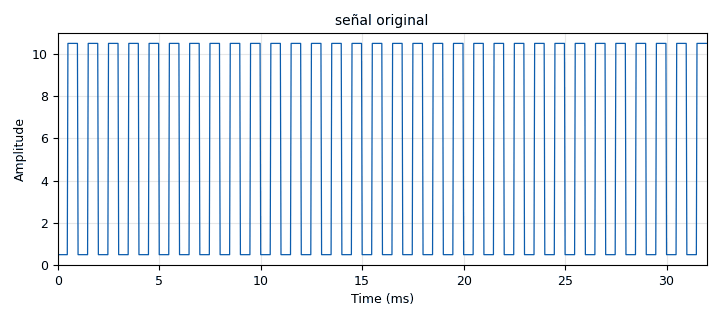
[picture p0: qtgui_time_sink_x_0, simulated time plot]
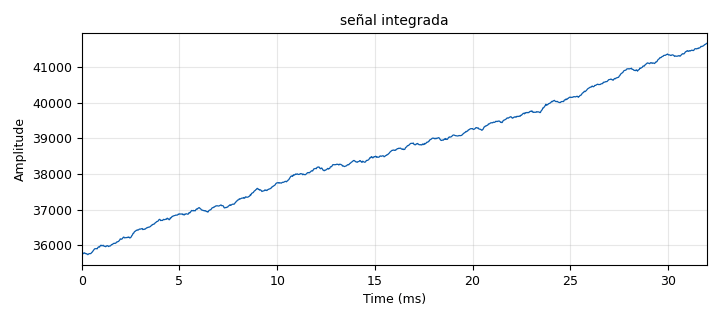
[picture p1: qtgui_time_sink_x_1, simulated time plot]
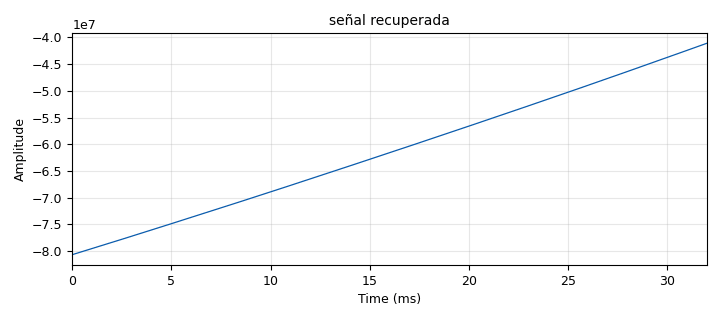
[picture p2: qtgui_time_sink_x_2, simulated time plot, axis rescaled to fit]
options:
  parameters:
    generate_options: qt_gui
    id: practica1b1
    output_language: python
    title: Not titled yet
  states: {}

blocks:
- name: samp_rate
  id: variable
  parameters:
    value: '32000'
  states: {}
- name: analog_noise_source_x_0
  id: analog_noise_source_x
  parameters:
    amp: '12'
    noise_type: analog.GR_GAUSSIAN
    seed: '0'
    type: float
  states: {}
- name: analog_noise_source_x_1
  id: analog_noise_source_x
  parameters:
    amp: '20'
    noise_type: analog.GR_GAUSSIAN
    seed: '0'
    type: float
  states: {}
- name: analog_sig_source_x_0
  id: analog_sig_source_x
  parameters:
    amp: '10'
    freq: '1000'
    offset: '0.5'
    phase: '0'
    samp_rate: samp_rate
    type: float
    waveform: analog.GR_SQR_WAVE
  states: {}
- name: blocks_add_xx_0
  id: blocks_add_xx
  parameters:
    type: float
  states: {}
- name: blocks_add_xx_1
  id: blocks_add_xx
  parameters:
    type: float
  states: {}
- name: blocks_vector_source_x_0
  id: blocks_vector_source_x
  parameters:
    repeat: 'True'
    type: float
    vector: (5, 2, 2)
  states: {state: disabled}
- name: blocks_vector_source_x_1
  id: blocks_vector_source_x
  parameters:
    repeat: 'True'
    type: float
    vector: (5, 2, 2)
  states: {}
- name: epy_block_0
  id: epy_block
  parameters:
    _source_code: |
      import numpy as np
      from gnuradio import gr

      class blk (gr. sync_block ):

      	def __init__ ( self ) : # only default arguments here

      	    gr. sync_block . __init__ (
      		 self ,
      	         name ='e_Acum ', # will show up in GRC
      		 in_sig =[ np. float32 ],
      		 out_sig =[ np. float32 ]
                  )
      	def work (self , input_items , output_items ):
      	    x = input_items [0] # Senial de entrada .
      	    y0 = output_items [0] # Senial acumulada
      	    y0 [:] = np. cumsum (x)
      	    return len (y0)
  states: {}
- name: epy_block_0_0
  id: epy_block
  parameters:
    _source_code: |
      import numpy as np
      from gnuradio import gr

      class blk (gr. sync_block ):

      	def __init__ ( self ) : # only default arguments here

      	    gr. sync_block . __init__ (
      		 self ,
      	         name ='e_Acum ', # will show up in GRC
      		 in_sig =[ np. float32 ],
      		 out_sig =[ np. float32 ]
                  )
      	def work (self , input_items , output_items ):
      	    x = input_items [0] # Senial de entrada .
      	    y0 = output_items [0] # Senial acumulada
      	    y0 [:] = np. cumsum (x)
      	    return len (y0)
  states: {}
- name: epy_block_1
  id: epy_block
  parameters:
    _source_code: |
      import numpy as np
      from gnuradio import gr

      class blk (gr. sync_block ):
          def __init__ ( self ) : # only default arguments here
              gr. sync_block . __init__ (
                   self ,
                   name ='e_Diff ', # will show up in GRC
                   in_sig =[ np. float32 ],
                   out_sig =[ np. float32 ]     
              
              )
              self . acum_anterior = 0
          def work (self , input_items , output_items ):
              x = input_items [0] # Senial de entrada .
              y0 = output_items [0] # Senial acumulada diferencial
              N = len (x)
              diff = np. cumsum (x) - self . acum_anterior
              self . acum_anterior = diff [N -1]
              y0 [:] = diff
              return len (y0)
  states: {state: disabled}
- name: epy_block_1_0
  id: epy_block
  parameters:
    _source_code: |
      import numpy as np
      from gnuradio import gr

      class blk (gr. sync_block ):
          def __init__ ( self ) : # only default arguments here
              gr. sync_block . __init__ (
                   self ,
                   name ='e_Diff ', # will show up in GRC
                   in_sig =[ np. float32 ],
                   out_sig =[ np. float32 ]     
              
              )
              self . acum_anterior = 0
          def work (self , input_items , output_items ):
              x = input_items [0] # Senial de entrada .
              y0 = output_items [0] # Senial acumulada diferencial
              N = len (x)
              diff = np. cumsum (x) - self . acum_anterior
              self . acum_anterior = diff [N -1]
              y0 [:] = diff
              return len (y0)
  states: {}
- name: epy_block_1_0_0
  id: epy_block
  parameters:
    _source_code: |
      import numpy as np
      from gnuradio import gr

      class blk (gr. sync_block ):
          def __init__ ( self ) : # only default arguments here
              gr. sync_block . __init__ (
                   self ,
                   name ='e_Diff ', # will show up in GRC
                   in_sig =[ np. float32 ],
                   out_sig =[ np. float32 ]     
              
              )
              self . acum_anterior = 0
          def work (self , input_items , output_items ):
              x = input_items [0] # Senial de entrada .
              y0 = output_items [0] # Senial acumulada diferencial
              N = len (x)
              diff = np. cumsum (x) - self . acum_anterior
              self . acum_anterior = diff [N -1]
              y0 [:] = diff
              return len (y0)
  states: {}
- name: epy_block_2
  id: epy_block
  parameters:
    _source_code: |
      """
      Embedded Python Blocks:

      Each time this file is saved, GRC will instantiate the first class it finds
      to get ports and parameters of your block. The arguments to __init__ will
      be the parameters. All of them are required to have default values!
      """

      import numpy as np
      from gnuradio import gr

      class blk(gr.sync_block):
          def __init__(self): 
              gr.sync_block.__init__(
                  self,
                  name='e_Average', # se mostrará en GRC
                  in_sig=[np.float32],
                  out_sig=[np.float32]
              )

          def work(self, input_items, output_items):
              x = input_items[0] # Señal de entrada.
              y0 = output_items[0] # Señal acumulada

      # Calcula la suma acumulativa y luego divide por el índice + 1 para el promedio
              cumsum_x = np.cumsum(x)
              y0[:] = cumsum_x / (np.arange(len(x)) + 1)


              return len(output_items[0]) # Retorna el tamaño del buffer de salida
  states: {state: disabled}
- name: epy_block_3
  id: epy_block
  parameters:
    _source_code: |
      """
      Embedded Python Blocks:

      Each time this file is saved, GRC will instantiate the first class it finds
      to get ports and parameters of your block. The arguments to __init__  will
      be the parameters. All of them are required to have default values!
      """
      import numpy as np
      from gnuradio import gr

      class blk(gr.sync_block):
          def __init__(self): 
              gr.sync_block.__init__(
                  self,
                  name='e_Average', # se mostrará en GRC
                  in_sig=[np.float32],
                  out_sig=[np.float32]
              )

          def work(self, input_items, output_items):
              x = input_items[0] # Señal de entrada.
              y0 = output_items[0] # Señal acumulada

      # Calcula la suma acumulativa y luego divide por el índice + 1 para el promedio
              cumsum_x = np.cumsum(x)
              y0[:] = cumsum_x / (np.arange(len(x)) + 1)


              return len(output_items[0]) # Retorna el tamaño del buffer de salida
  states: {}
- name: qtgui_number_sink_0
  id: qtgui_number_sink
  parameters:
    alias: Acumulador
    graph_type: qtgui.NUM_GRAPH_HORIZ
    max: '10000'
    min: '-10000'
    name: '"Acumulador"'
    type: float
  states: {state: disabled}
- name: qtgui_number_sink_1
  id: qtgui_number_sink
  parameters:
    alias: Promedio
    graph_type: qtgui.NUM_GRAPH_HORIZ
    max: '10000'
    min: '-10000'
    name: '"Promedio"'
    type: float
  states: {state: disabled}
- name: qtgui_number_sink_2
  id: qtgui_number_sink
  parameters:
    alias: Diferenciador
    graph_type: qtgui.NUM_GRAPH_HORIZ
    max: '10000'
    min: '-10000'
    name: '"Diferenciador"'
    type: float
  states: {state: disabled}
- name: qtgui_number_sink_3
  id: qtgui_number_sink
  parameters:
    graph_type: qtgui.NUM_GRAPH_HORIZ
    name: '"Acumulador"'
    type: float
  states: {}
- name: qtgui_number_sink_4
  id: qtgui_number_sink
  parameters:
    graph_type: qtgui.NUM_GRAPH_HORIZ
    name: '"Vector inicial"'
    type: float
  states: {}
- name: qtgui_number_sink_5
  id: qtgui_number_sink
  parameters:
    graph_type: qtgui.NUM_GRAPH_HORIZ
    name: '"Vector con ruido"'
    type: float
  states: {}
- name: qtgui_number_sink_6
  id: qtgui_number_sink
  parameters:
    graph_type: qtgui.NUM_GRAPH_HORIZ
    name: '"Promedio"'
    type: float
  states: {}
- name: qtgui_number_sink_7
  id: qtgui_number_sink
  parameters:
    graph_type: qtgui.NUM_GRAPH_HORIZ
    name: '"Diferenciador"'
    type: float
  states: {}
- name: qtgui_time_sink_x_0
  id: qtgui_time_sink_x
  parameters:
    autoscale: 'True'
    name: '"señal original"'
    size: '1024'
    srate: samp_rate
    type: float
  states: {}
- name: qtgui_time_sink_x_1
  id: qtgui_time_sink_x
  parameters:
    autoscale: 'True'
    grid: 'True'
    name: '"señal integrada"'
    size: '1024'
    srate: samp_rate
    type: float
  states: {}
- name: qtgui_time_sink_x_2
  id: qtgui_time_sink_x
  parameters:
    name: '"señal recuperada"'
    size: '1024'
    srate: samp_rate
    type: float
  states: {}

connections:
- [analog_noise_source_x_0, '0', blocks_add_xx_0, '1']
- [analog_noise_source_x_1, '0', blocks_add_xx_1, '1']
- [analog_sig_source_x_0, '0', blocks_add_xx_0, '0']
- [analog_sig_source_x_0, '0', qtgui_time_sink_x_0, '0']
- [blocks_add_xx_0, '0', epy_block_0, '0']
- [blocks_add_xx_0, '0', epy_block_1, '0']
- [blocks_add_xx_0, '0', epy_block_2, '0']
- [blocks_add_xx_1, '0', epy_block_0_0, '0']
- [blocks_add_xx_1, '0', epy_block_1_0_0, '0']
- [blocks_add_xx_1, '0', epy_block_3, '0']
- [blocks_add_xx_1, '0', qtgui_number_sink_5, '0']
- [blocks_vector_source_x_1, '0', blocks_add_xx_1, '0']
- [blocks_vector_source_x_1, '0', qtgui_number_sink_4, '0']
- [epy_block_0, '0', epy_block_1_0, '0']
- [epy_block_0, '0', qtgui_time_sink_x_1, '0']
- [epy_block_0_0, '0', qtgui_number_sink_3, '0']
- [epy_block_1_0, '0', qtgui_time_sink_x_2, '0']
- [epy_block_1_0_0, '0', qtgui_number_sink_7, '0']
- [epy_block_3, '0', qtgui_number_sink_6, '0']

metadata:
  file_format: 1
  grc_version: 3.10.9.2
